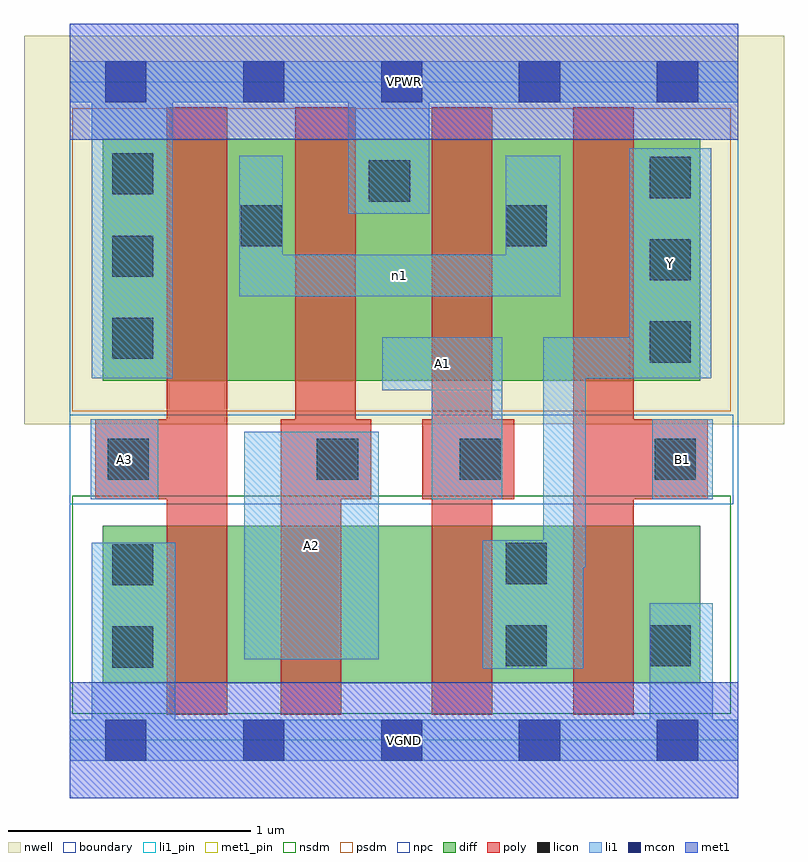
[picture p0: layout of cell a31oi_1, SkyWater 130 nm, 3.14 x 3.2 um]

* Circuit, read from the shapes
.subckt a31oi_1 A1 A2 A3 B1 VGND VPWR Y n1
XM1 n2 A3 VGND VSUBS sky130_fd_pr__nfet_01v8 w=0.65 l=0.25
XM2 n3 A2 n2 VSUBS sky130_fd_pr__nfet_01v8 w=0.65 l=0.25
XM3 Y A1 n3 VSUBS sky130_fd_pr__nfet_01v8 w=0.65 l=0.25
XM4 VGND B1 Y VSUBS sky130_fd_pr__nfet_01v8 w=0.65 l=0.25
XM5 n1 A3 VPWR n4 sky130_fd_pr__pfet_01v8 w=1 l=0.25
XM6 VPWR A2 n1 n4 sky130_fd_pr__pfet_01v8 w=1 l=0.25
XM7 n1 A1 VPWR n4 sky130_fd_pr__pfet_01v8 w=1 l=0.25
XM8 Y B1 n1 n4 sky130_fd_pr__pfet_01v8 w=1 l=0.25
.ends

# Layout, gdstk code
import gdstk
lib = gdstk.Library(unit=1e-6, precision=1e-09)
def R(c, l, rs):  # rectangles x0, y0, x1, y1
    for r in rs: c.add(gdstk.rectangle(r[:2], r[2:], *l))
def A(c, l, x, y, w, h, nx, ny, dx, dy):  # array of equal rectangles
    R(c, l, [(x+i*dx, y+j*dy, x+i*dx+w, y+j*dy+h) for i in range(nx) for j in range(ny)])
nwell = (64, 20)
diff = (65, 20)
poly = (66, 20)
licon = (66, 44)
li1_pin = (67, 16)
li1 = (67, 20)
mcon = (67, 44)
met1_pin = (68, 16)
met1 = (68, 20)
nsdm = (93, 44)
psdm = (94, 20)
npc = (95, 20)
boundary = (235, 4)

a31oi_1 = lib.new_cell('a31oi_1')
R(a31oi_1, nwell, [(-0.19,1.305,2.95,2.91), (0,1.305,2.76,2.91)])
R(a31oi_1, diff, [(0.135,0.235,2.605,0.885), (0.135,1.485,2.605,2.485)])
R(a31oi_1, poly, [(0.4,0.105,0.65,2.615), (0.87,0.105,1.12,1.325), (1.495,0.105,1.745,2.615), (2.08,0.105,2.33,2.615), (0.105,0.995,0.65,1.325), (0.87,0.995,1.245,1.325), (0.93,0.995,1.18,2.615), (1.455,0.995,1.835,1.325), (2.08,0.995,2.635,1.325)])
A(a31oi_1, licon, 2.395, 1.56, 0.17, 0.17, 1, 3, 0, 0.34)
A(a31oi_1, licon, 0.175, 1.575, 0.17, 0.17, 1, 3, 0, 0.34)
R(a31oi_1, licon, [(0.175,0.3,0.345,0.47), (1.8,0.305,1.97,0.475), (2.395,0.305,2.565,0.475), (0.175,0.64,0.345,0.81), (1.8,0.645,1.97,0.815), (0.155,1.075,0.325,1.245), (1.02,1.075,1.19,1.245), (1.61,1.075,1.78,1.245), (2.415,1.075,2.585,1.245), (0.705,2.04,0.875,2.21), (1.8,2.04,1.97,2.21), (1.235,2.225,1.405,2.395)])
R(a31oi_1, li1_pin, [(0.72,0.335,1.275,1.275), (0.085,0.995,0.365,1.325), (2.405,0.995,2.655,1.325), (1.29,1.445,1.785,1.665), (2.31,1.495,2.65,2.445)])
R(a31oi_1, li1, [(0,-0.085,2.76,0.085), (0.09,-0.085,0.435,0.815), (2.395,-0.085,2.655,0.565), (1.705,0.295,2.12,0.825), (0.72,0.335,1.275,1.275), (1.955,0.715,2.13,1.665), (0.085,0.995,0.365,1.325), (1.495,0.995,1.785,1.665), (2.405,0.995,2.655,1.325), (1.29,1.445,1.785,1.665), (0.09,1.495,0.425,2.805), (1.955,1.495,2.65,1.665), (2.31,1.495,2.65,2.445), (0.7,1.835,2.025,2.005), (0.7,1.835,0.88,2.415), (1.8,1.835,2.025,2.415), (1.15,2.175,1.485,2.805), (0,2.635,2.76,2.805)])
A(a31oi_1, mcon, 0.145, -0.085, 0.17, 0.17, 5, 2, 0.57, 2.72)
R(a31oi_1, met1_pin, [(0,-0.24,2.76,0.24), (0,2.48,2.76,2.96)])
R(a31oi_1, met1, [(0,-0.24,2.76,0.24), (0,2.48,2.76,2.96)])
R(a31oi_1, nsdm, [(0.01,0.11,2.73,1.01)])
R(a31oi_1, psdm, [(0.01,1.36,2.73,2.61)])
R(a31oi_1, npc, [(0,0.975,2.74,1.345)])
R(a31oi_1, boundary, [(0,0,2.76,2.72)])
a31oi_1.add(gdstk.Label('A1', (1.537,1.555), layer=67, texttype=5))
a31oi_1.add(gdstk.Label('A2', (0.997,0.805), layer=67, texttype=5))
a31oi_1.add(gdstk.Label('A3', (0.225,1.16), layer=67, texttype=5))
a31oi_1.add(gdstk.Label('B1', (2.53,1.16), layer=67, texttype=5))
a31oi_1.add(gdstk.Label('Y', (2.48,1.97), layer=67, texttype=5))
a31oi_1.add(gdstk.Label('n1', (1.362,1.92), layer=67, texttype=5))
a31oi_1.add(gdstk.Label('VPWR', (1.38,2.72), layer=68, texttype=5))
a31oi_1.add(gdstk.Label('VGND', (1.38,0), layer=68, texttype=5))
a31oi_1.add(gdstk.Label('A1', (1.537,1.555), layer=67, texttype=16))
a31oi_1.add(gdstk.Label('A2', (0.997,0.805), layer=67, texttype=16))
a31oi_1.add(gdstk.Label('A3', (0.225,1.16), layer=67, texttype=16))
a31oi_1.add(gdstk.Label('B1', (2.53,1.16), layer=67, texttype=16))
a31oi_1.add(gdstk.Label('Y', (2.48,1.97), layer=67, texttype=16))
a31oi_1.add(gdstk.Label('VPWR', (1.38,2.72), layer=68, texttype=16))
a31oi_1.add(gdstk.Label('VGND', (1.38,0), layer=68, texttype=16))

lib.write_gds('a31oi_1.gds')
